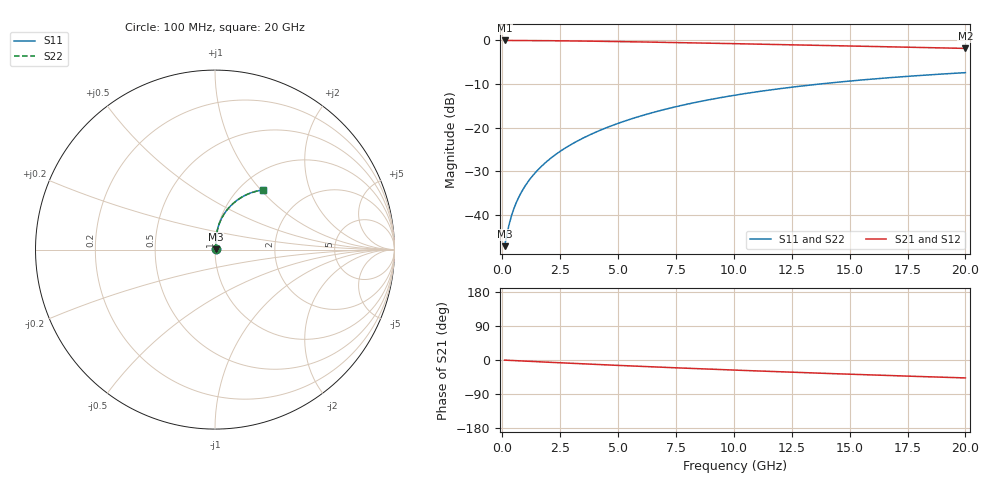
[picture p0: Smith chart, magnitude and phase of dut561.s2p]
! Touchstone file exported from HFSS 2024.1.0
!  File:  C:/UserFiles/LocalFiles/RDL_TSV_Batchsim/temp_RDL_top_561_1779681305.aedt
!  Generated:  11:58:09 AM May 25, 2026
!  Design:  RDL_top
!  Project:  temp_RDL_top_561_1779681305
!  Setup:  Setup1
!  Solution:  Sweep
! Variables:
!  dtsv = 10.80580581um
!  hbump = 3um
!  htsv = 55.73um
!  ldown = 100um
!  lrdl = 652.1um
!  p = 40
!  p1 = 58.56um
!  rhole = 1um
!  t = 450um
!  tdown = 3.915915916um
!  trdl = 2.68um
!  wdown = 15.38538539um
!  wrdl = 25.02um
# GHz S MA R 50.000000
! Terminal data exported
! Port[1] = Box2_T1
! Port[2] = Box2_T2
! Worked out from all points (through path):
!   200 points, 100 MHz to 20 GHz, reference 50 ohm
!   highest |S21| = -0.03 dB at 100 MHz (marker M1); lowest = -1.9 dB at 20 GHz (marker M2)
!   group delay of S21, straight-line fit = 6.51 ps
!   lowest |S11| = -47.2 dB at 100 MHz (marker M3), VSWR 1.01, Z = 50.4 + j0.234 ohm
!   |S11| at or under -10 dB: start of sweep to 13.73 GHz
!   |S22| runs from -47.2 to -7.4 dB; largest |S21 - S12| = 8.2e-15
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0.1  0.004381 32.0  0.9963 -0.3  0.9963 -0.3  0.004381 32.0
! Gamma 0 0 0 0
! Port Impedance 50 0 50 0
0.2  0.005989 49.9  0.9961 -0.6  0.9961 -0.6  0.005989 49.9
0.3  0.007871 59.1  0.9958 -0.9  0.9958 -0.9  0.007871 59.1
0.4  0.009816 64.6  0.9956 -1.2  0.9956 -1.2  0.009816 64.6
0.5  0.01177 68.3  0.9953 -1.5  0.9953 -1.5  0.01177 68.3
0.6  0.01374 71.0  0.9951 -1.8  0.9951 -1.8  0.01374 71.0
0.8  0.0177 74.8  0.9946 -2.4  0.9946 -2.4  0.0177 74.8
1.1  0.02375 78.3  0.9937 -3.3  0.9937 -3.3  0.02375 78.3
1.3  0.02785 79.8  0.993 -3.9  0.993 -3.9  0.02785 79.8
1.6  0.0341 81.4  0.9919 -4.7  0.9919 -4.7  0.03409 81.4
2.1  0.04475 83.0  0.9895 -6.2  0.9895 -6.2  0.04475 83.0
2.7  0.05792 83.9  0.986 -7.9  0.986 -7.9  0.05791 83.9
3.5  0.07611 84.2  0.9804 -10.2  0.9804 -10.2  0.0761 84.2
4.2  0.09256 83.8  0.9748 -12.1  0.9748 -12.1  0.09254 83.8
5  0.1118 82.9  0.9676 -14.2  0.9676 -14.2  0.1118 82.9
6.8  0.1563 79.9  0.95 -18.9  0.95 -18.9  0.1562 79.9
8.4  0.1957 76.5  0.9332 -22.8  0.9332 -22.8  0.1956 76.5
10.1  0.2364 72.6  0.9148 -26.8  0.9148 -26.8  0.2363 72.6
11.7  0.2729 68.9  0.8972 -30.4  0.8972 -30.4  0.2728 68.9
13.4  0.3094 65.0  0.8785 -34.1  0.8785 -34.1  0.3093 65.0
16.7  0.3727 57.9  0.8426 -41.0  0.8426 -41.0  0.3726 57.8
20  0.4262 51.3  0.8079 -47.3  0.8079 -47.3  0.426 51.2
